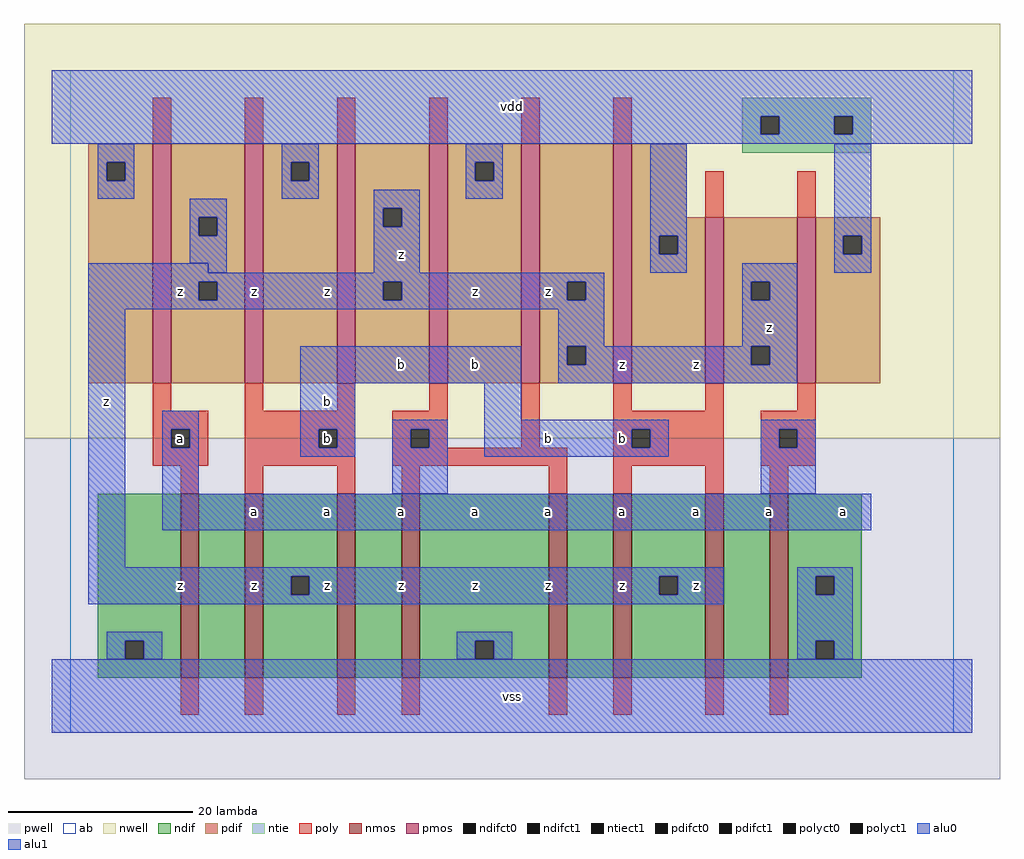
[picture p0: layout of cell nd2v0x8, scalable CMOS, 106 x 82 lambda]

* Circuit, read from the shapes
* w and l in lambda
.subckt nd2v0x8 a b vdd vss z
M1 n1 a vss VSUBS nfet w=20 l=2
M2 z b n1 VSUBS nfet w=20 l=2
M3 n2 b z VSUBS nfet w=20 l=2
M4 vss a n2 VSUBS nfet w=20 l=2
M5 n3 a vss VSUBS nfet w=20 l=2
M6 z b n3 VSUBS nfet w=20 l=2
M7 n4 b z VSUBS nfet w=20 l=2
M8 vss a n4 VSUBS nfet w=20 l=2
M9 z a vdd vdd pfet w=26 l=2 m=3
M10 vdd b z vdd pfet w=26 l=2 m=3
M11 z b vdd vdd pfet w=18 l=2
M12 vdd a z vdd pfet w=18 l=2
.ends

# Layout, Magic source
magic
tech scmos
<< ab >>
rect 0 0 96 72
<< nwell >>
rect -5 32 101 77
<< pwell >>
rect -5 -5 101 32
<< poly >>
rect 9 64 11 69
rect 19 64 21 69
rect 29 64 31 69
rect 39 64 41 69
rect 49 64 51 69
rect 59 64 61 69
rect 69 56 71 61
rect 79 56 81 61
rect 9 35 11 38
rect 19 35 21 38
rect 29 35 31 38
rect 39 35 41 38
rect 9 33 15 35
rect 9 31 11 33
rect 13 31 15 33
rect 9 29 15 31
rect 19 33 31 35
rect 19 31 27 33
rect 29 31 31 33
rect 19 29 31 31
rect 35 33 41 35
rect 35 31 37 33
rect 39 31 41 33
rect 49 31 51 38
rect 59 35 61 38
rect 69 35 71 38
rect 79 35 81 38
rect 59 33 71 35
rect 59 31 61 33
rect 63 31 71 33
rect 35 29 54 31
rect 12 26 14 29
rect 19 26 21 29
rect 29 26 31 29
rect 36 26 38 29
rect 52 26 54 29
rect 59 29 71 31
rect 75 33 81 35
rect 75 31 77 33
rect 79 31 81 33
rect 75 29 81 31
rect 59 26 61 29
rect 69 26 71 29
rect 76 26 78 29
rect 12 2 14 6
rect 19 2 21 6
rect 29 2 31 6
rect 36 2 38 6
rect 52 2 54 6
rect 59 2 61 6
rect 69 2 71 6
rect 76 2 78 6
<< ndif >>
rect 3 10 12 26
rect 3 8 6 10
rect 8 8 12 10
rect 3 6 12 8
rect 14 6 19 26
rect 21 17 29 26
rect 21 15 24 17
rect 26 15 29 17
rect 21 6 29 15
rect 31 6 36 26
rect 38 10 52 26
rect 38 8 44 10
rect 46 8 52 10
rect 38 6 52 8
rect 54 6 59 26
rect 61 17 69 26
rect 61 15 64 17
rect 66 15 69 17
rect 61 6 69 15
rect 71 6 76 26
rect 78 17 86 26
rect 78 15 81 17
rect 83 15 86 17
rect 78 10 86 15
rect 78 8 81 10
rect 83 8 86 10
rect 78 6 86 8
<< pdif >>
rect 2 62 9 64
rect 2 60 4 62
rect 6 60 9 62
rect 2 38 9 60
rect 11 56 19 64
rect 11 54 14 56
rect 16 54 19 56
rect 11 49 19 54
rect 11 47 14 49
rect 16 47 19 49
rect 11 38 19 47
rect 21 62 29 64
rect 21 60 24 62
rect 26 60 29 62
rect 21 38 29 60
rect 31 57 39 64
rect 31 55 34 57
rect 36 55 39 57
rect 31 49 39 55
rect 31 47 34 49
rect 36 47 39 49
rect 31 38 39 47
rect 41 62 49 64
rect 41 60 44 62
rect 46 60 49 62
rect 41 38 49 60
rect 51 49 59 64
rect 51 47 54 49
rect 56 47 59 49
rect 51 42 59 47
rect 51 40 54 42
rect 56 40 59 42
rect 51 38 59 40
rect 61 56 67 64
rect 61 54 69 56
rect 61 52 64 54
rect 66 52 69 54
rect 61 38 69 52
rect 71 49 79 56
rect 71 47 74 49
rect 76 47 79 49
rect 71 42 79 47
rect 71 40 74 42
rect 76 40 79 42
rect 71 38 79 40
rect 81 54 88 56
rect 81 52 84 54
rect 86 52 88 54
rect 81 38 88 52
<< alu1 >>
rect -2 67 98 72
rect -2 65 75 67
rect 77 65 83 67
rect 85 65 98 67
rect -2 64 98 65
rect 2 50 15 51
rect 33 57 38 59
rect 33 55 34 57
rect 36 55 38 57
rect 33 50 38 55
rect 2 49 58 50
rect 2 47 14 49
rect 16 47 34 49
rect 36 47 54 49
rect 56 47 58 49
rect 2 46 58 47
rect 2 18 6 46
rect 53 42 58 46
rect 73 49 79 51
rect 73 47 74 49
rect 76 47 79 49
rect 73 42 79 47
rect 25 38 49 42
rect 53 40 54 42
rect 56 40 74 42
rect 76 40 79 42
rect 53 38 79 40
rect 10 33 14 35
rect 10 31 11 33
rect 13 31 14 33
rect 10 26 14 31
rect 25 33 31 38
rect 45 34 49 38
rect 25 31 27 33
rect 29 31 31 33
rect 25 30 31 31
rect 45 33 65 34
rect 45 31 61 33
rect 63 31 65 33
rect 45 30 65 31
rect 10 22 87 26
rect 2 17 71 18
rect 2 15 24 17
rect 26 15 64 17
rect 66 15 71 17
rect 2 14 71 15
rect -2 0 98 8
<< ntie >>
rect 73 67 87 69
rect 73 65 75 67
rect 77 65 83 67
rect 85 65 87 67
rect 73 63 87 65
<< nmos >>
rect 12 6 14 26
rect 19 6 21 26
rect 29 6 31 26
rect 36 6 38 26
rect 52 6 54 26
rect 59 6 61 26
rect 69 6 71 26
rect 76 6 78 26
<< pmos >>
rect 9 38 11 64
rect 19 38 21 64
rect 29 38 31 64
rect 39 38 41 64
rect 49 38 51 64
rect 59 38 61 64
rect 69 38 71 56
rect 79 38 81 56
<< polyct0 >>
rect 37 31 39 33
rect 77 31 79 33
<< polyct1 >>
rect 11 31 13 33
rect 27 31 29 33
rect 61 31 63 33
<< ndifct0 >>
rect 6 8 8 10
rect 44 8 46 10
rect 81 15 83 17
rect 81 8 83 10
<< ndifct1 >>
rect 24 15 26 17
rect 64 15 66 17
<< ntiect1 >>
rect 75 65 77 67
rect 83 65 85 67
<< pdifct0 >>
rect 4 60 6 62
rect 14 54 16 56
rect 24 60 26 62
rect 44 60 46 62
rect 64 52 66 54
rect 84 52 86 54
<< pdifct1 >>
rect 14 47 16 49
rect 34 55 36 57
rect 34 47 36 49
rect 54 47 56 49
rect 54 40 56 42
rect 74 47 76 49
rect 74 40 76 42
<< alu0 >>
rect 3 62 7 64
rect 3 60 4 62
rect 6 60 7 62
rect 3 58 7 60
rect 23 62 27 64
rect 23 60 24 62
rect 26 60 27 62
rect 23 58 27 60
rect 43 62 47 64
rect 43 60 44 62
rect 46 60 47 62
rect 13 56 17 58
rect 13 54 14 56
rect 16 54 17 56
rect 13 51 17 54
rect 15 50 17 51
rect 43 58 47 60
rect 63 54 67 64
rect 63 52 64 54
rect 66 52 67 54
rect 63 50 67 52
rect 83 54 87 64
rect 83 52 84 54
rect 86 52 87 54
rect 83 50 87 52
rect 35 33 41 34
rect 35 31 37 33
rect 39 31 41 33
rect 35 26 41 31
rect 75 33 81 34
rect 75 31 77 33
rect 79 31 81 33
rect 75 26 81 31
rect 79 17 85 18
rect 79 15 81 17
rect 83 15 85 17
rect 4 10 10 11
rect 4 8 6 10
rect 8 8 10 10
rect 42 10 48 11
rect 42 8 44 10
rect 46 8 48 10
rect 79 10 85 15
rect 79 8 81 10
rect 83 8 85 10
<< labels >>
rlabel alu1 12 16 12 16 6 z
rlabel polyct1 12 32 12 32 6 a
rlabel alu1 4 36 4 36 6 z
rlabel alu1 12 48 12 48 6 z
rlabel alu1 28 16 28 16 6 z
rlabel alu1 20 16 20 16 6 z
rlabel alu1 20 24 20 24 6 a
rlabel alu1 28 24 28 24 6 a
rlabel polyct1 28 32 28 32 6 b
rlabel alu1 28 36 28 36 6 b
rlabel alu1 20 48 20 48 6 z
rlabel alu1 28 48 28 48 6 z
rlabel alu1 48 4 48 4 6 vss
rlabel alu1 44 16 44 16 6 z
rlabel alu1 52 16 52 16 6 z
rlabel alu1 36 16 36 16 6 z
rlabel alu1 36 24 36 24 6 a
rlabel alu1 44 24 44 24 6 a
rlabel alu1 52 24 52 24 6 a
rlabel alu1 52 32 52 32 6 b
rlabel alu1 36 40 36 40 6 b
rlabel alu1 44 40 44 40 6 b
rlabel alu1 36 52 36 52 6 z
rlabel alu1 44 48 44 48 6 z
rlabel alu1 52 48 52 48 6 z
rlabel alu1 48 68 48 68 6 vdd
rlabel alu1 68 16 68 16 6 z
rlabel alu1 60 16 60 16 6 z
rlabel alu1 60 24 60 24 6 a
rlabel alu1 68 24 68 24 6 a
rlabel alu1 76 24 76 24 6 a
rlabel alu1 60 32 60 32 6 b
rlabel alu1 60 40 60 40 6 z
rlabel alu1 68 40 68 40 6 z
rlabel alu1 76 44 76 44 6 z
rlabel alu1 84 24 84 24 6 a
<< end >>
